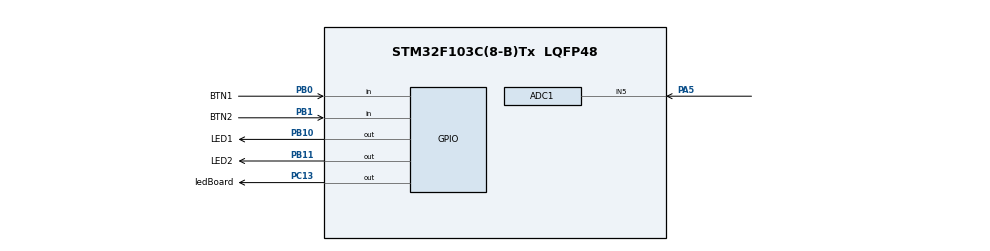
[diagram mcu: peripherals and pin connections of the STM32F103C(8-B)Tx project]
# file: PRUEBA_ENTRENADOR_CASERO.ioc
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ADC1.Channel-3\#ChannelRegularConversion=ADC_CHANNEL_5
ADC1.NbrOfConversionFlag=1
ADC1.Rank-3\#ChannelRegularConversion=1
ADC1.SamplingTime-3\#ChannelRegularConversion=ADC_SAMPLETIME_239CYCLES_5
ADC1.master=1
Mcu.Family=STM32F1
Mcu.Name=STM32F103C(8-B)Tx
Mcu.Package=LQFP48
NVIC.PriorityGroup=NVIC_PRIORITYGROUP_4
PA13.Mode=Serial_Wire
PA13.Signal=SYS_JTMS-SWDIO
PA14.Mode=Serial_Wire
PA14.Signal=SYS_JTCK-SWCLK
PA5.Signal=ADCx_IN5
PB0.GPIO_Label=BTN1
PB0.GPIO_Mode=GPIO_MODE_INPUT
PB0.GPIO_PuPd=GPIO_PULLDOWN
PB0.Signal=GPIO_Input
PB1.GPIO_Label=BTN2
PB1.GPIO_PuPd=GPIO_PULLDOWN
PB1.Signal=GPIO_Input
PB10.GPIO_Label=LED1
PB10.Signal=GPIO_Output
PB11.GPIO_Label=LED2
PB11.Signal=GPIO_Output
PC13-TAMPER-RTC.GPIO_Label=ledBoard
PC13-TAMPER-RTC.Signal=GPIO_Output
ProjectManager.HeapSize=0x200
ProjectManager.StackSize=0x400
ProjectManager.TargetToolchain=STM32CubeIDE
RCC.APB1Freq_Value=8000000
RCC.APB2Freq_Value=8000000
SH.ADCx_IN5.0=ADC1_IN5,IN5
board=custom

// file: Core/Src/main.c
/* USER CODE BEGIN Header */
/**
  ******************************************************************************
  * @file           : main.c
  * @brief          : Main program body
  ******************************************************************************
  * @attention
  *
  * Copyright (c) 2023 STMicroelectronics.
  * All rights reserved.
  *
  * This software is licensed under terms that can be found in the LICENSE file
  * in the root directory of this software component.
  * If no LICENSE file comes with this software, it is provided AS-IS.
  *
  ******************************************************************************
  */
/* USER CODE END Header */
#include "main.h"

ADC_HandleTypeDef hadc1;

/* USER CODE BEGIN PV */
uint16_t adcSample;
/* USER CODE END PV */

void SystemClock_Config(void);
static void MX_GPIO_Init(void);
static void MX_ADC1_Init(void);
/* USER CODE BEGIN PFP */
uint8_t pressButtonEncoder(uint8_t numButton, GPIO_TypeDef *GPIOx, uint16_t GPIO_Pin);
/* USER CODE END PFP */

int main(void)
{

  /* MCU Configuration--------------------------------------------------------*/

  /* Reset of all peripherals, Initializes the Flash interface and the Systick. */
  HAL_Init();

  /* Configure the system clock */
  SystemClock_Config();

  /* Initialize all configured peripherals */
  MX_GPIO_Init();
  MX_ADC1_Init();

  /* Infinite loop */
  /* USER CODE BEGIN WHILE */
  while (1)
  {

	  HAL_ADC_Start(&hadc1);
	  //HAL_ADC_PollForConversion(&hadc1, 100);
	  adcSample=HAL_ADC_GetValue(&hadc1);

	  if(adcSample<2000){
		  HAL_GPIO_WritePin(ledBoard_GPIO_Port, ledBoard_Pin, SET);
	  }else{
		  HAL_GPIO_WritePin(ledBoard_GPIO_Port, ledBoard_Pin, RESET);
	  }

	  if(pressButtonEncoder(1,BTN1_GPIO_Port,BTN1_Pin)){
		  HAL_GPIO_WritePin(LED1_GPIO_Port, LED1_Pin, SET);
      }else{
	      HAL_GPIO_WritePin(LED1_GPIO_Port, LED1_Pin, RESET);
	  }

	  if(pressButtonEncoder(2,BTN2_GPIO_Port,BTN2_Pin)){
		  HAL_GPIO_WritePin(LED2_GPIO_Port, LED2_Pin, SET);
	  }else{
		  HAL_GPIO_WritePin(LED2_GPIO_Port, LED2_Pin, RESET);
	  }

//	   if(HAL_GPIO_ReadPin(BTN1_GPIO_Port, BTN1_Pin)  && !mem){mem = 1;}
//	   if(!HAL_GPIO_ReadPin(BTN1_GPIO_Port, BTN1_Pin) &&  mem){suma++; mem = 0;}
//	   if(suma==1){
//		   HAL_GPIO_WritePin(LED1_GPIO_Port, LED1_Pin, SET);
//	   }
//	   if(suma==2){
//		   HAL_GPIO_WritePin(LED1_GPIO_Port, LED1_Pin, RESET);
//		   suma=0;
//	   }

    /* USER CODE END WHILE */

  }
}

void SystemClock_Config(void)
{
  RCC_OscInitTypeDef RCC_OscInitStruct = {0};
  RCC_ClkInitTypeDef RCC_ClkInitStruct = {0};
  RCC_PeriphCLKInitTypeDef PeriphClkInit = {0};

  /** Initializes the RCC Oscillators according to the specified parameters
  * in the RCC_OscInitTypeDef structure.
  */
  RCC_OscInitStruct.OscillatorType = RCC_OSCILLATORTYPE_HSI;
  RCC_OscInitStruct.HSIState = RCC_HSI_ON;
  RCC_OscInitStruct.HSICalibrationValue = RCC_HSICALIBRATION_DEFAULT;
  RCC_OscInitStruct.PLL.PLLState = RCC_PLL_NONE;
  if (HAL_RCC_OscConfig(&RCC_OscInitStruct) != HAL_OK)
  {
    Error_Handler();
  }

  /** Initializes the CPU, AHB and APB buses clocks
  */
  RCC_ClkInitStruct.ClockType = RCC_CLOCKTYPE_HCLK|RCC_CLOCKTYPE_SYSCLK
                              |RCC_CLOCKTYPE_PCLK1|RCC_CLOCKTYPE_PCLK2;
  RCC_ClkInitStruct.SYSCLKSource = RCC_SYSCLKSOURCE_HSI;
  RCC_ClkInitStruct.AHBCLKDivider = RCC_SYSCLK_DIV1;
  RCC_ClkInitStruct.APB1CLKDivider = RCC_HCLK_DIV1;
  RCC_ClkInitStruct.APB2CLKDivider = RCC_HCLK_DIV1;

  if (HAL_RCC_ClockConfig(&RCC_ClkInitStruct, FLASH_LATENCY_0) != HAL_OK)
  {
    Error_Handler();
  }
  PeriphClkInit.PeriphClockSelection = RCC_PERIPHCLK_ADC;
  PeriphClkInit.AdcClockSelection = RCC_ADCPCLK2_DIV2;
  if (HAL_RCCEx_PeriphCLKConfig(&PeriphClkInit) != HAL_OK)
  {
    Error_Handler();
  }
}

static void MX_ADC1_Init(void)
{

  ADC_ChannelConfTypeDef sConfig = {0};

  /** Common config
  */
  hadc1.Instance = ADC1;
  hadc1.Init.ScanConvMode = ADC_SCAN_DISABLE;
  hadc1.Init.ContinuousConvMode = DISABLE;
  hadc1.Init.DiscontinuousConvMode = DISABLE;
  hadc1.Init.ExternalTrigConv = ADC_SOFTWARE_START;
  hadc1.Init.DataAlign = ADC_DATAALIGN_RIGHT;
  hadc1.Init.NbrOfConversion = 1;
  if (HAL_ADC_Init(&hadc1) != HAL_OK)
  {
    Error_Handler();
  }

  /** Configure Regular Channel
  */
  sConfig.Channel = ADC_CHANNEL_5;
  sConfig.Rank = ADC_REGULAR_RANK_1;
  sConfig.SamplingTime = ADC_SAMPLETIME_239CYCLES_5;
  if (HAL_ADC_ConfigChannel(&hadc1, &sConfig) != HAL_OK)
  {
    Error_Handler();
  }

}

static void MX_GPIO_Init(void)
{
  GPIO_InitTypeDef GPIO_InitStruct = {0};

  /* GPIO Ports Clock Enable */
  __HAL_RCC_GPIOC_CLK_ENABLE();
  __HAL_RCC_GPIOA_CLK_ENABLE();
  __HAL_RCC_GPIOB_CLK_ENABLE();

  /*Configure GPIO pin Output Level */
  HAL_GPIO_WritePin(ledBoard_GPIO_Port, ledBoard_Pin, GPIO_PIN_RESET);

  /*Configure GPIO pin Output Level */
  HAL_GPIO_WritePin(GPIOB, LED1_Pin|LED2_Pin, GPIO_PIN_RESET);

  /*Configure GPIO pin : ledBoard_Pin */
  GPIO_InitStruct.Pin = ledBoard_Pin;
  GPIO_InitStruct.Mode = GPIO_MODE_OUTPUT_PP;
  GPIO_InitStruct.Pull = GPIO_NOPULL;
  GPIO_InitStruct.Speed = GPIO_SPEED_FREQ_LOW;
  HAL_GPIO_Init(ledBoard_GPIO_Port, &GPIO_InitStruct);

  /*Configure GPIO pins : BTN1_Pin BTN2_Pin */
  GPIO_InitStruct.Pin = BTN1_Pin|BTN2_Pin;
  GPIO_InitStruct.Mode = GPIO_MODE_INPUT;
  GPIO_InitStruct.Pull = GPIO_PULLDOWN;
  HAL_GPIO_Init(GPIOB, &GPIO_InitStruct);

  /*Configure GPIO pins : LED1_Pin LED2_Pin */
  GPIO_InitStruct.Pin = LED1_Pin|LED2_Pin;
  GPIO_InitStruct.Mode = GPIO_MODE_OUTPUT_PP;
  GPIO_InitStruct.Pull = GPIO_NOPULL;
  GPIO_InitStruct.Speed = GPIO_SPEED_FREQ_LOW;
  HAL_GPIO_Init(GPIOB, &GPIO_InitStruct);

}

/* USER CODE BEGIN 4 */

uint8_t pressButtonEncoder(uint8_t numButton, GPIO_TypeDef *GPIOx, uint16_t GPIO_Pin){
	#define cantleds 5
	static uint8_t mem[cantleds]={0};
	uint8_t led[cantleds]={0};
	static uint8_t suma[cantleds]={0};
 	if(HAL_GPIO_ReadPin(GPIOx, GPIO_Pin)  && !mem[numButton]){mem[numButton] = 1;}
	if(!HAL_GPIO_ReadPin(GPIOx, GPIO_Pin) &&  mem[numButton]){suma[numButton]++; mem[numButton] = 0;}
	if(suma[numButton]==1){
		led[numButton]=1;
	}
	if(suma[numButton]==2){
		suma[numButton]=0;
		led[numButton]=0;
	}
	return led[numButton];
}
/* USER CODE END 4 */

void Error_Handler(void)
{
  __disable_irq();
  while (1)
  {
  }
}
